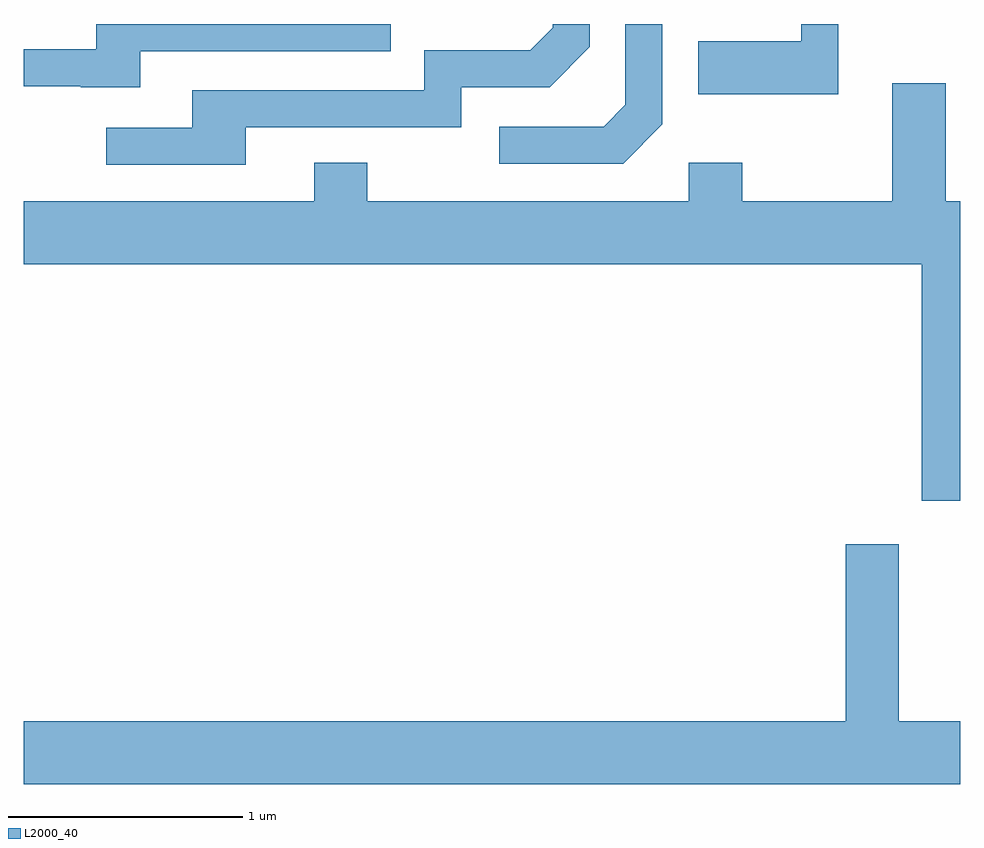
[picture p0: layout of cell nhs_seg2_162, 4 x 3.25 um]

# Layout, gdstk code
import gdstk
lib = gdstk.Library(unit=1e-6, precision=1e-09)
def P(c, l, *ps):  # polygons
    for p in ps: c.add(gdstk.Polygon(p, *l))
L2000_40 = (2000, 40)

nhs_seg2_162 = lib.new_cell('nhs_seg2_162')
P(nhs_seg2_162, L2000_40, [(192.339,1033.373),(192.339,1033.802),(192.181,1033.802),(192.181,1033.457),(192.089,1033.364),(191.643,1033.364),(191.643,1033.206),(192.172,1033.206)],
  [(190.109,1033.686),(191.178,1033.686),(191.178,1033.802),(189.921,1033.802),(189.921,1033.694),(189.611,1033.694),(189.611,1033.536),(189.855,1033.536),(189.855,1033.531),(190.109,1033.531)],
  [(193.089,1033.802),(192.931,1033.802),(192.931,1033.729),(192.491,1033.729),(192.491,1033.501),(193.089,1033.501)],
  [(190.559,1033.361),(191.479,1033.361),(191.479,1033.531),(191.857,1033.531),(192.029,1033.704),(192.029,1033.802),(191.871,1033.802),(191.871,1033.786),(191.774,1033.689),(191.321,1033.689),(191.321,1033.519),(190.331,1033.519),(190.331,1033.359),(189.963,1033.359),(189.963,1033.201),(190.559,1033.201)],
  [(193.611,1033.044),(193.549,1033.044),(193.549,1033.549),(193.321,1033.549),(193.321,1033.044),(192.679,1033.044),(192.679,1033.209),(192.451,1033.209),(192.451,1033.044),(191.079,1033.044),(191.079,1033.209),(190.851,1033.209),(190.851,1033.044),(189.611,1033.044),(189.611,1032.776),(193.446,1032.776),(193.446,1031.766),(193.611,1031.766)],
  [(193.611,1030.824),(193.349,1030.824),(193.349,1031.579),(193.121,1031.579),(193.121,1030.824),(189.611,1030.824),(189.611,1030.556),(193.611,1030.556)])

lib.write_gds('nhs_seg2_162.gds')
